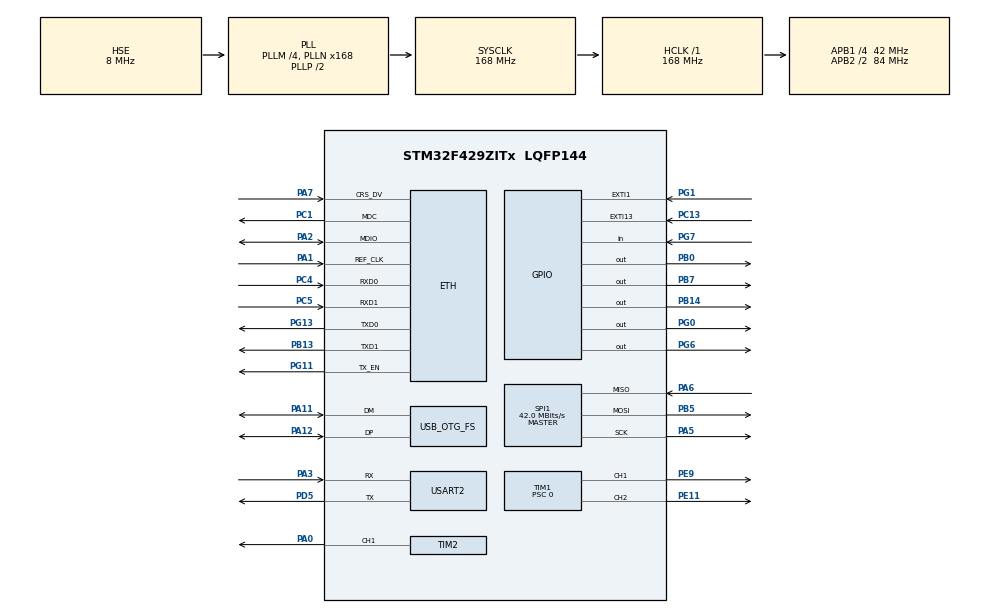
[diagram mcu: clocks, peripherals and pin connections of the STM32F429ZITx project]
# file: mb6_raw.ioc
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ADC1.Channel-12\#ChannelRegularConversion=ADC_CHANNEL_TEMPSENSOR
ADC1.ClockPrescaler=ADC_CLOCK_SYNC_PCLK_DIV4
ADC1.ContinuousConvMode=DISABLE
ADC1.DMAContinuousRequests=DISABLE
ADC1.DataAlign=ADC_DATAALIGN_RIGHT
ADC1.DiscontinuousConvMode=DISABLE
ADC1.EOCSelection=ADC_EOC_SINGLE_CONV
ADC1.EnableAnalogWatchDog=false
ADC1.ExternalTrigConv=ADC_SOFTWARE_START
ADC1.ExternalTrigConvEdge=ADC_EXTERNALTRIGCONVEDGE_NONE
ADC1.InjNumberOfConversion=0
ADC1.NbrOfConversion=1
ADC1.NbrOfConversionFlag=1
ADC1.Rank-12\#ChannelRegularConversion=1
ADC1.Resolution=ADC_RESOLUTION_12B
ADC1.SamplingTime-12\#ChannelRegularConversion=ADC_SAMPLETIME_3CYCLES
ADC1.ScanConvMode=DISABLE
ADC1.master=1
Dma.ADC1.4.Direction=DMA_PERIPH_TO_MEMORY
Dma.ADC1.4.FIFOMode=DMA_FIFOMODE_DISABLE
Dma.ADC1.4.Instance=DMA2_Stream4
Dma.ADC1.4.MemDataAlignment=DMA_MDATAALIGN_HALFWORD
Dma.ADC1.4.MemInc=DMA_MINC_ENABLE
Dma.ADC1.4.Mode=DMA_NORMAL
Dma.ADC1.4.PeriphDataAlignment=DMA_PDATAALIGN_HALFWORD
Dma.ADC1.4.PeriphInc=DMA_PINC_DISABLE
Dma.ADC1.4.Priority=DMA_PRIORITY_LOW
Dma.Request0=SPI1_TX
Dma.Request1=SPI1_RX
Dma.Request2=USART2_RX
Dma.Request3=USART2_TX
Dma.Request4=ADC1
Dma.SPI1_RX.1.Direction=DMA_PERIPH_TO_MEMORY
Dma.SPI1_RX.1.FIFOMode=DMA_FIFOMODE_ENABLE
Dma.SPI1_RX.1.FIFOThreshold=DMA_FIFO_THRESHOLD_FULL
Dma.SPI1_RX.1.Instance=DMA2_Stream0
Dma.SPI1_RX.1.MemBurst=DMA_MBURST_SINGLE
Dma.SPI1_RX.1.MemDataAlignment=DMA_MDATAALIGN_BYTE
Dma.SPI1_RX.1.MemInc=DMA_MINC_ENABLE
Dma.SPI1_RX.1.Mode=DMA_NORMAL
Dma.SPI1_RX.1.PeriphBurst=DMA_PBURST_SINGLE
Dma.SPI1_RX.1.PeriphDataAlignment=DMA_PDATAALIGN_BYTE
Dma.SPI1_RX.1.PeriphInc=DMA_PINC_DISABLE
Dma.SPI1_RX.1.Priority=DMA_PRIORITY_HIGH
Dma.SPI1_TX.0.Direction=DMA_MEMORY_TO_PERIPH
Dma.SPI1_TX.0.FIFOMode=DMA_FIFOMODE_ENABLE
Dma.SPI1_TX.0.FIFOThreshold=DMA_FIFO_THRESHOLD_FULL
Dma.SPI1_TX.0.Instance=DMA2_Stream3
Dma.SPI1_TX.0.MemBurst=DMA_MBURST_SINGLE
Dma.SPI1_TX.0.MemDataAlignment=DMA_MDATAALIGN_BYTE
Dma.SPI1_TX.0.MemInc=DMA_MINC_ENABLE
Dma.SPI1_TX.0.Mode=DMA_NORMAL
Dma.SPI1_TX.0.PeriphBurst=DMA_PBURST_SINGLE
Dma.SPI1_TX.0.PeriphDataAlignment=DMA_PDATAALIGN_BYTE
Dma.SPI1_TX.0.PeriphInc=DMA_PINC_DISABLE
Dma.SPI1_TX.0.Priority=DMA_PRIORITY_HIGH
Dma.USART2_RX.2.Direction=DMA_PERIPH_TO_MEMORY
Dma.USART2_RX.2.FIFOMode=DMA_FIFOMODE_DISABLE
Dma.USART2_RX.2.Instance=DMA1_Stream5
Dma.USART2_RX.2.MemDataAlignment=DMA_MDATAALIGN_BYTE
Dma.USART2_RX.2.MemInc=DMA_MINC_ENABLE
Dma.USART2_RX.2.Mode=DMA_CIRCULAR
Dma.USART2_RX.2.PeriphDataAlignment=DMA_PDATAALIGN_BYTE
Dma.USART2_RX.2.PeriphInc=DMA_PINC_DISABLE
Dma.USART2_RX.2.Priority=DMA_PRIORITY_LOW
Dma.USART2_TX.3.Direction=DMA_MEMORY_TO_PERIPH
Dma.USART2_TX.3.FIFOMode=DMA_FIFOMODE_DISABLE
Dma.USART2_TX.3.Instance=DMA1_Stream6
Dma.USART2_TX.3.MemDataAlignment=DMA_MDATAALIGN_BYTE
Dma.USART2_TX.3.MemInc=DMA_MINC_ENABLE
Dma.USART2_TX.3.Mode=DMA_NORMAL
Dma.USART2_TX.3.PeriphDataAlignment=DMA_PDATAALIGN_BYTE
Dma.USART2_TX.3.PeriphInc=DMA_PINC_DISABLE
Dma.USART2_TX.3.Priority=DMA_PRIORITY_LOW
ETH.MediaInterface=ETH_MEDIA_INTERFACE_RMII
ETH.PhyAddress=0
FREERTOS.BinarySemaphores01=myBinarySem01_SPI1T,Dynamic,NULL;myBinarySem02_USART2T,Dynamic,NULL;myBinarySem03_USART2R,Dynamic,NULL
FREERTOS.MEMORY_ALLOCATION=0
FREERTOS.Queues01=myQueue01,16,uint16_t,NULL,Dynamic,NULL,NULL;myQueue02,16,uint16_t,NULL,Dynamic,NULL,NULL
FREERTOS.Tasks01=defaultTask,0,256,StartDefaultTask,Default,NULL,Dynamic,NULL,NULL;myTask02,2,128,StartTask02,Default,NULL,Dynamic,NULL,NULL;myTask03,-3,512,StartTask03,Default,NULL,Dynamic,NULL,NULL;myTask04,-3,128,StartTask04,Default,NULL,Dynamic,NULL,NULL;myTask05,-3,3840,StartTask05,Default,NULL,Dynamic,NULL,NULL
FREERTOS.configCHECK_FOR_STACK_OVERFLOW=0
FREERTOS.configMINIMAL_STACK_SIZE=128
FREERTOS.configTOTAL_HEAP_SIZE=50000
LWIP.DEFAULT_RAW_RECVMBOX_SIZE=20
LWIP.DEFAULT_TCP_RECVMBOX_SIZE=20
LWIP.GATEWAY_ADDRESS=192.168.003.001
LWIP.HTTPD_USE_MEM_POOL=0
LWIP.IP_ADDRESS=192.168.003.220
LWIP.LWIP_DHCP=0
LWIP.LWIP_HTTPD=1
LWIP.LWIP_HTTPD_CGI=1
LWIP.LWIP_HTTPD_CGI_SSI=0
LWIP.LWIP_HTTPD_DYNAMIC_HEADERS=1
LWIP.LWIP_HTTPD_OMIT_HEADER_FOR_EXTENSIONLESS_URI=1
LWIP.LWIP_HTTPD_SSI=1
LWIP.LWIP_HTTPD_SUPPORT_POST=1
LWIP.LWIP_NETIF_LINK_CALLBACK=1
LWIP.LWIP_TFTP=1
LWIP.MEMP_NUM_LOCALHOSTLIST=5
LWIP.MEMP_NUM_TCP_SEG=24
LWIP.NETMASK_ADDRESS=255.255.255.000
LWIP.TCP_MSS=460
LWIP.TCP_SND_BUF=1840
LWIP.TCP_WND=2048
LWIP.TFTP_MAX_FILENAME_LEN=40
LWIP.Version=v2.0.0_Cube
Mcu.Family=STM32F4
Mcu.Name=STM32F429ZITx
Mcu.Package=LQFP144
NVIC.DMA1_Stream5_IRQn=true\:5\:0\:false\:false\:true\:true\:false
NVIC.DMA1_Stream6_IRQn=true\:5\:0\:false\:false\:true\:true\:false
NVIC.DMA2_Stream0_IRQn=true\:5\:0\:false\:false\:true\:true\:false
NVIC.DMA2_Stream3_IRQn=true\:5\:0\:false\:false\:true\:true\:false
NVIC.DMA2_Stream4_IRQn=true\:5\:0\:false\:false\:true\:true\:false
NVIC.ETH_IRQn=true\:5\:0\:false\:false\:true\:true\:false
NVIC.EXTI1_IRQn=true\:5\:0\:false\:false\:true\:true\:true
NVIC.OTG_FS_IRQn=true\:5\:0\:false\:false\:true\:true\:false
NVIC.PriorityGroup=NVIC_PRIORITYGROUP_4
NVIC.SPI1_IRQn=true\:5\:0\:false\:false\:true\:true\:true
NVIC.USART2_IRQn=true\:5\:0\:false\:false\:true\:true\:true
PA0/WKUP.Signal=S_TIM2_CH1_ETR
PA1.GPIO_Mode=GPIO_MODE_AF_PP
PA1.GPIO_PuPd=GPIO_NOPULL
PA1.GPIO_Speed=GPIO_SPEED_FREQ_VERY_HIGH
PA1.Mode=RMII
PA1.Signal=ETH_REF_CLK
PA10.GPIO_Mode=GPIO_MODE_AF_PP
PA10.GPIO_PuPd=GPIO_NOPULL
PA10.GPIO_Speed=GPIO_SPEED_FREQ_VERY_HIGH
PA10.Signal=USB_OTG_FS_ID
PA11.GPIO_Mode=GPIO_MODE_AF_PP
PA11.GPIO_PuPd=GPIO_NOPULL
PA11.GPIO_Speed=GPIO_SPEED_FREQ_VERY_HIGH
PA11.Mode=Device_Only
PA11.Signal=USB_OTG_FS_DM
PA12.GPIO_Mode=GPIO_MODE_AF_PP
PA12.GPIO_PuPd=GPIO_NOPULL
PA12.GPIO_Speed=GPIO_SPEED_FREQ_VERY_HIGH
PA12.Mode=Device_Only
PA12.Signal=USB_OTG_FS_DP
PA13.Mode=Serial_Wire
PA13.Signal=SYS_JTMS-SWDIO
PA14.Mode=Serial_Wire
PA14.Signal=SYS_JTCK-SWCLK
PA2.GPIO_Mode=GPIO_MODE_AF_PP
PA2.GPIO_PuPd=GPIO_NOPULL
PA2.GPIO_Speed=GPIO_SPEED_FREQ_VERY_HIGH
PA2.Mode=RMII
PA2.Signal=ETH_MDIO
PA3.Mode=Asynchronous
PA3.Signal=USART2_RX
PA5.Mode=Full_Duplex_Master
PA5.Signal=SPI1_SCK
PA6.Mode=Full_Duplex_Master
PA6.Signal=SPI1_MISO
PA7.GPIO_Mode=GPIO_MODE_AF_PP
PA7.GPIO_PuPd=GPIO_NOPULL
PA7.GPIO_Speed=GPIO_SPEED_FREQ_VERY_HIGH
PA7.Mode=RMII
PA7.Signal=ETH_CRS_DV
PA8.GPIO_Mode=GPIO_MODE_AF_PP
PA8.GPIO_PuPd=GPIO_NOPULL
PA8.GPIO_Speed=GPIO_SPEED_FREQ_VERY_HIGH
PA8.Signal=USB_OTG_FS_SOF
PA9.GPIO_Mode=GPIO_MODE_INPUT
PA9.GPIO_PuPd=GPIO_NOPULL
PA9.Signal=USB_OTG_FS_VBUS
PB0.Signal=GPIO_Output
PB13.GPIO_Mode=GPIO_MODE_AF_PP
PB13.GPIO_PuPd=GPIO_NOPULL
PB13.GPIO_Speed=GPIO_SPEED_FREQ_VERY_HIGH
PB13.Mode=RMII
PB13.Signal=ETH_TXD1
PB14.GPIO_ModeDefaultOutputPP=GPIO_MODE_OUTPUT_PP
PB14.GPIO_PuPd=GPIO_NOPULL
PB14.GPIO_Speed=GPIO_SPEED_FREQ_LOW
PB14.PinState=GPIO_PIN_RESET
PB14.Signal=GPIO_Output
PB5.Mode=Full_Duplex_Master
PB5.Signal=SPI1_MOSI
PB7.Signal=GPIO_Output
PC1.GPIO_Mode=GPIO_MODE_AF_PP
PC1.GPIO_PuPd=GPIO_NOPULL
PC1.GPIO_Speed=GPIO_SPEED_FREQ_VERY_HIGH
PC1.Mode=RMII
PC1.Signal=ETH_MDC
PC13.GPIO_ModeDefaultEXTI=GPIO_MODE_IT_RISING
PC13.GPIO_PuPd=GPIO_NOPULL
PC13.Signal=GPXTI13
PC14/OSC32_IN.Mode=LSE-External-Oscillator
PC14/OSC32_IN.Signal=RCC_OSC32_IN
PC15/OSC32_OUT.Mode=LSE-External-Oscillator
PC15/OSC32_OUT.Signal=RCC_OSC32_OUT
PC4.GPIO_Mode=GPIO_MODE_AF_PP
PC4.GPIO_PuPd=GPIO_NOPULL
PC4.GPIO_Speed=GPIO_SPEED_FREQ_VERY_HIGH
PC4.Mode=RMII
PC4.Signal=ETH_RXD0
PC5.GPIO_Mode=GPIO_MODE_AF_PP
PC5.GPIO_PuPd=GPIO_NOPULL
PC5.GPIO_Speed=GPIO_SPEED_FREQ_VERY_HIGH
PC5.Mode=RMII
PC5.Signal=ETH_RXD1
PD5.Mode=Asynchronous
PD5.Signal=USART2_TX
PD8.GPIO_Mode=GPIO_MODE_AF_PP
PD8.GPIO_PuPd=GPIO_NOPULL
PD8.GPIO_Speed=GPIO_SPEED_FREQ_VERY_HIGH
PD8.Signal=USART3_TX
PD9.GPIO_Mode=GPIO_MODE_AF_PP
PD9.GPIO_PuPd=GPIO_NOPULL
PD9.GPIO_Speed=GPIO_SPEED_FREQ_VERY_HIGH
PD9.Signal=USART3_RX
PE11.GPIO_Speed=GPIO_SPEED_FREQ_HIGH
PE11.Signal=S_TIM1_CH2
PE9.GPIO_PuPd=GPIO_PULLUP
PE9.GPIO_Speed=GPIO_SPEED_FREQ_HIGH
PE9.Signal=S_TIM1_CH1
PG0.Signal=GPIO_Output
PG1.GPIO_ModeDefaultEXTI=GPIO_MODE_IT_RISING
PG1.Signal=GPXTI1
PG11.GPIO_Mode=GPIO_MODE_AF_PP
PG11.GPIO_PuPd=GPIO_NOPULL
PG11.GPIO_Speed=GPIO_SPEED_FREQ_VERY_HIGH
PG11.Mode=RMII
PG11.Signal=ETH_TX_EN
PG13.GPIO_Mode=GPIO_MODE_AF_PP
PG13.GPIO_PuPd=GPIO_NOPULL
PG13.GPIO_Speed=GPIO_SPEED_FREQ_VERY_HIGH
PG13.Mode=RMII
PG13.Signal=ETH_TXD0
PG6.GPIO_ModeDefaultOutputPP=GPIO_MODE_OUTPUT_PP
PG6.GPIO_PuPd=GPIO_NOPULL
PG6.GPIO_Speed=GPIO_SPEED_FREQ_LOW
PG6.PinState=GPIO_PIN_RESET
PG6.Signal=GPIO_Output
PG7.GPIO_Mode=GPIO_MODE_INPUT
PG7.GPIO_PuPd=GPIO_NOPULL
PG7.Signal=GPIO_Input
PH0/OSC_IN.Mode=HSE-External-Oscillator
PH0/OSC_IN.Signal=RCC_OSC_IN
PH1/OSC_OUT.Mode=HSE-External-Oscillator
PH1/OSC_OUT.Signal=RCC_OSC_OUT
ProjectManager.HeapSize=0x200
ProjectManager.StackSize=0x400
ProjectManager.TargetToolchain=SW4STM32
RCC.48MHZClocksFreq_Value=48000000
RCC.AHBFreq_Value=168000000
RCC.APB1CLKDivider=RCC_HCLK_DIV4
RCC.APB1Freq_Value=42000000
RCC.APB1TimFreq_Value=84000000
RCC.APB2CLKDivider=RCC_HCLK_DIV2
RCC.APB2Freq_Value=84000000
RCC.APB2TimFreq_Value=168000000
RCC.CortexFreq_Value=168000000
RCC.HCLKFreq_Value=168000000
RCC.HSE_VALUE=8000000
RCC.HSI_VALUE=16000000
RCC.PLLM=4
RCC.PLLMUL=RCC_PLL_MUL9
RCC.PLLN=168
RCC.PLLQ=7
RCC.PRESCALERUSB=RCC_USBCLKSOURCE_PLL_DIV1_5
RCC.RCC_RTC_Clock_Source=RCC_RTCCLKSOURCE_LSE
RCC.RCC_RTC_Clock_SourceVirtual=RCC_RTCCLKSOURCE_LSE
RCC.SYSCLKFreq_VALUE=168000000
RCC.SYSCLKSource=RCC_SYSCLKSOURCE_PLLCLK
RCC.SYSCLKSourceVirtual=RCC_SYSCLKSOURCE_PLLCLK
RCC.USBFreq_Value=48000000
RCC.VCOOutputFreq_Value=336000000
RTC.Alarm=RTC_ALARM_A
SH.S_TIM1_CH1.0=TIM1_CH1,Output Compare1 CH1
SH.S_TIM1_CH2.0=TIM1_CH2,PWM Generation2 CH2
SH.S_TIM2_CH1_ETR.0=TIM2_CH1,Output Compare1 CH1
SPI1.CalculateBaudRate=42.0 MBits/s
SPI1.Direction=SPI_DIRECTION_2LINES
SPI1.Mode=SPI_MODE_MASTER
SPI1.VirtualType=VM_MASTER
TIM1.AutomaticOutput=TIM_AUTOMATICOUTPUT_ENABLE
TIM1.Channel-Output\ Compare1\ CH1=TIM_CHANNEL_1
TIM1.Channel-PWM\ Generation2\ CH2=TIM_CHANNEL_2
TIM1.ClockDivision=TIM_CLOCKDIVISION_DIV1
TIM1.OCFastMode_PWM-PWM\ Generation2\ CH2=TIM_OCFAST_ENABLE
TIM1.OCMode_1=TIM_OCMODE_TOGGLE
TIM1.Period=84
TIM1.Prescaler=0
TIM1.Pulse-PWM\ Generation2\ CH2=15
TIM2.Channel-Output\ Compare1\ CH1=TIM_CHANNEL_1
TIM2.OCMode_1=TIM_OCMODE_TOGGLE
TIM2.Period=42
TIM2.Prescaler=1000
USART2.VirtualMode=VM_ASYNC
USB_DEVICE.CLASS_NAME_FS=CDC
USB_DEVICE.VirtualMode-CDC_FS=Cdc
USB_DEVICE.VirtualModeFS=Cdc_FS
USB_OTG_FS.VirtualMode=Device_Only
VP_ADC1_TempSens_Input.Mode=IN-TempSens
VP_FREERTOS_VS_ENABLE.Mode=Enabled
VP_LWIP_VS_Enabled.Mode=Enabled
VP_RTC_VS_RTC_Activate.Mode=RTC_Enabled
VP_RTC_VS_RTC_Alarm_A_Intern.Mode=Alarm A
VP_RTC_VS_RTC_Calendar.Mode=RTC_Calendar
VP_TIM1_VS_ClockSourceINT.Mode=Internal
VP_TIM2_VS_ClockSourceINT.Mode=Internal
VP_USB_DEVICE_VS_USB_DEVICE_CDC_FS.Mode=CDC_FS
VP_WWDG_VS_WWDG.Mode=WWDG_Activate
WWDG.Counter=127
WWDG.Prescaler=WWDG_PRESCALER_8
WWDG.Window=127
board=NUCLEO-F429ZI

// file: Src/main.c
/**
  ******************************************************************************
  * File Name          : main.c
  * Description        : Main program body
  ******************************************************************************
  * This notice applies to any and all portions of this file
  * that are not between comment pairs USER CODE BEGIN and
  * USER CODE END. Other portions of this file, whether
  * inserted by the user or by software development tools
  * are owned by their respective copyright owners.
  *
  * Copyright (c) 2019 STMicroelectronics International N.V.
  * All rights reserved.
  *
  * Redistribution and use in source and binary forms, with or without
  * modification, are permitted, provided that the following conditions are met:
  *
  * 1. Redistribution of source code must retain the above copyright notice,
  *    this list of conditions and the following disclaimer.
  * 2. Redistributions in binary form must reproduce the above copyright notice,
  *    this list of conditions and the following disclaimer in the documentation
  *    and/or other materials provided with the distribution.
  * 3. Neither the name of STMicroelectronics nor the names of other
  *    contributors to this software may be used to endorse or promote products
  *    derived from this software without specific written permission.
  * 4. This software, including modifications and/or derivative works of this
  *    software, must execute solely and exclusively on microcontroller or
  *    microprocessor devices manufactured by or for STMicroelectronics.
  * 5. Redistribution and use of this software other than as permitted under
  *    this license is void and will automatically terminate your rights under
  *    this license.
  *
  * THIS SOFTWARE IS PROVIDED BY STMICROELECTRONICS AND CONTRIBUTORS "AS IS"
  * AND ANY EXPRESS, IMPLIED OR STATUTORY WARRANTIES, INCLUDING, BUT NOT
  * LIMITED TO, THE IMPLIED WARRANTIES OF MERCHANTABILITY, FITNESS FOR A
  * PARTICULAR PURPOSE AND NON-INFRINGEMENT OF THIRD PARTY INTELLECTUAL PROPERTY
  * RIGHTS ARE DISCLAIMED TO THE FULLEST EXTENT PERMITTED BY LAW. IN NO EVENT
  * SHALL STMICROELECTRONICS OR CONTRIBUTORS BE LIABLE FOR ANY DIRECT, INDIRECT,
  * INCIDENTAL, SPECIAL, EXEMPLARY, OR CONSEQUENTIAL DAMAGES (INCLUDING, BUT NOT
  * LIMITED TO, PROCUREMENT OF SUBSTITUTE GOODS OR SERVICES; LOSS OF USE, DATA,
  * OR PROFITS; OR BUSINESS INTERRUPTION) HOWEVER CAUSED AND ON ANY THEORY OF
  * LIABILITY, WHETHER IN CONTRACT, STRICT LIABILITY, OR TORT (INCLUDING
  * NEGLIGENCE OR OTHERWISE) ARISING IN ANY WAY OUT OF THE USE OF THIS SOFTWARE,
  * EVEN IF ADVISED OF THE POSSIBILITY OF SUCH DAMAGE.
  *
  ******************************************************************************
  */

#include "main.h"
#include "stm32f4xx_hal.h"
#include "cmsis_os.h"
#include "adc.h"
#include "dma.h"
#include "lwip.h"
#include "rtc.h"
#include "spi.h"
#include "tim.h"
#include "usart.h"
#include "usb_device.h"
#include "wwdg.h"
#include "gpio.h"

/* USER CODE BEGIN Includes */
#include "mb.h"
#include "mbport.h"

#include "tftpserver.h"
#include "storage.h"
#include "stm32f4xx_hal_rtc_ex.h" //recommended for rtc
#include "rtc.h"
/* USER CODE END Includes */

/* USER CODE BEGIN PV */
/* Private variables ---------------------------------------------------------*/
unsigned long LocalTime = 0; /* this variable is used to create a time reference incremented by 10ms */
/* USER CODE END PV */

void SystemClock_Config(void);
void MX_FREERTOS_Init(void);

/* USER CODE BEGIN PFP */
/* Private function prototypes -----------------------------------------------*/
#define SYSTEMTICK_PERIOD_MS  1
/* USER CODE END PFP */

/* USER CODE BEGIN 0 */
void NVIC_SetVectorTable(unsigned long NVIC_VectTab, unsigned long Offset) {
         SCB->VTOR = NVIC_VectTab | (Offset & (unsigned int)0x1FFFFF80);
 }
void Time_Update(void)
{
  LocalTime += SYSTEMTICK_PERIOD_MS;
}
void printfp(char * c) {
	static char a[64];
	int len = strlen(c);
	memcpy(a,c,len);
//		HAL_UART_Transmit_DMA(&huart2,  c, strlen(c));
	HAL_UART_Transmit_DMA(&huart2,  a, len);
}
void printfpd(char * c, unsigned long d) {
	static char b[100];
	sprintf(b,c,d);
	printfp(b);
}
/* USER CODE END 0 */

int main(void)
{

  /* USER CODE BEGIN 1 */
	Reset = 0;
	write_cnt = 0;
  /* USER CODE END 1 */

  /* MCU Configuration----------------------------------------------------------*/

  /* Reset of all peripherals, Initializes the Flash interface and the Systick. */
  HAL_Init();

  /* Configure the system clock */
  SystemClock_Config();

  /* Initialize all configured peripherals */
  MX_GPIO_Init();
  MX_DMA_Init();
  MX_ADC1_Init();
  MX_RTC_Init();
  MX_SPI1_Init();
  MX_TIM1_Init();
  MX_TIM2_Init();
  MX_USART2_UART_Init();
  MX_WWDG_Init();

  /* USER CODE BEGIN 2 */
  NVIC_SetVectorTable(NVIC_VectTab_FLASH, USER_FLASH_FIRST_PAGE_ADDRESS);
  HAL_RTCEx_EnableBypassShadow(&hrtc);  //recommended for rtc
  ReadStorage();  //for have property mac
  //HAL_TIM_Base_Start(&htim1);
  HAL_TIM_OC_Start(&htim1, TIM_CHANNEL_1); //output compare mode
  //HAL_TIM_PWM_Start(&htim1, TIM_CHANNEL_1);
  HAL_TIM_PWM_Start(&htim1, TIM_CHANNEL_2); //pwm mode
  HAL_TIM_OC_Start(&htim2, TIM_CHANNEL_1); //output compare mode

  /* USER CODE END 2 */

  /* Call init function for freertos objects (in freertos.c) */
  MX_FREERTOS_Init();

  /* Start scheduler */
  osKernelStart();

  /* We should never get here as control is now taken by the scheduler */

  /* Infinite loop */
  while (1)
  {

  }

}

/** System Clock Configuration
*/
void SystemClock_Config(void)
{

  RCC_OscInitTypeDef RCC_OscInitStruct;
  RCC_ClkInitTypeDef RCC_ClkInitStruct;
  RCC_PeriphCLKInitTypeDef PeriphClkInitStruct;

    /**Configure the main internal regulator output voltage
    */
  __HAL_RCC_PWR_CLK_ENABLE();

  __HAL_PWR_VOLTAGESCALING_CONFIG(PWR_REGULATOR_VOLTAGE_SCALE1);

    /**Initializes the CPU, AHB and APB busses clocks
    */
  RCC_OscInitStruct.OscillatorType = RCC_OSCILLATORTYPE_HSE|RCC_OSCILLATORTYPE_LSE;
  RCC_OscInitStruct.HSEState = RCC_HSE_ON;
  RCC_OscInitStruct.LSEState = RCC_LSE_ON;
  RCC_OscInitStruct.PLL.PLLState = RCC_PLL_ON;
  RCC_OscInitStruct.PLL.PLLSource = RCC_PLLSOURCE_HSE;
  RCC_OscInitStruct.PLL.PLLM = 4;
  RCC_OscInitStruct.PLL.PLLN = 168;
  RCC_OscInitStruct.PLL.PLLP = RCC_PLLP_DIV2;
  RCC_OscInitStruct.PLL.PLLQ = 7;
  if (HAL_RCC_OscConfig(&RCC_OscInitStruct) != HAL_OK)
  {
    _Error_Handler(__FILE__, __LINE__);
  }

    /**Initializes the CPU, AHB and APB busses clocks
    */
  RCC_ClkInitStruct.ClockType = RCC_CLOCKTYPE_HCLK|RCC_CLOCKTYPE_SYSCLK
                              |RCC_CLOCKTYPE_PCLK1|RCC_CLOCKTYPE_PCLK2;
  RCC_ClkInitStruct.SYSCLKSource = RCC_SYSCLKSOURCE_PLLCLK;
  RCC_ClkInitStruct.AHBCLKDivider = RCC_SYSCLK_DIV1;
  RCC_ClkInitStruct.APB1CLKDivider = RCC_HCLK_DIV4;
  RCC_ClkInitStruct.APB2CLKDivider = RCC_HCLK_DIV2;

  if (HAL_RCC_ClockConfig(&RCC_ClkInitStruct, FLASH_LATENCY_5) != HAL_OK)
  {
    _Error_Handler(__FILE__, __LINE__);
  }

  PeriphClkInitStruct.PeriphClockSelection = RCC_PERIPHCLK_RTC;
  PeriphClkInitStruct.RTCClockSelection = RCC_RTCCLKSOURCE_LSE;
  if (HAL_RCCEx_PeriphCLKConfig(&PeriphClkInitStruct) != HAL_OK)
  {
    _Error_Handler(__FILE__, __LINE__);
  }

    /**Configure the Systick interrupt time
    */
  HAL_SYSTICK_Config(HAL_RCC_GetHCLKFreq()/1000);

    /**Configure the Systick
    */
  HAL_SYSTICK_CLKSourceConfig(SYSTICK_CLKSOURCE_HCLK);

  /* SysTick_IRQn interrupt configuration */
  HAL_NVIC_SetPriority(SysTick_IRQn, 15, 0);
}

void _Error_Handler(char * file, int line)
{
  while(1)
  {
  }
}

/************************ (C) COPYRIGHT STMicroelectronics *****END OF FILE****/

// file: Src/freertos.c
/**
  ******************************************************************************
  * File Name          : freertos.c
  * Description        : Code for freertos applications
  ******************************************************************************
  * This notice applies to any and all portions of this file
  * that are not between comment pairs USER CODE BEGIN and
  * USER CODE END. Other portions of this file, whether
  * inserted by the user or by software development tools
  * are owned by their respective copyright owners.
  *
  * Copyright (c) 2019 STMicroelectronics International N.V.
  * All rights reserved.
  *
  * Redistribution and use in source and binary forms, with or without
  * modification, are permitted, provided that the following conditions are met:
  *
  * 1. Redistribution of source code must retain the above copyright notice,
  *    this list of conditions and the following disclaimer.
  * 2. Redistributions in binary form must reproduce the above copyright notice,
  *    this list of conditions and the following disclaimer in the documentation
  *    and/or other materials provided with the distribution.
  * 3. Neither the name of STMicroelectronics nor the names of other
  *    contributors to this software may be used to endorse or promote products
  *    derived from this software without specific written permission.
  * 4. This software, including modifications and/or derivative works of this
  *    software, must execute solely and exclusively on microcontroller or
  *    microprocessor devices manufactured by or for STMicroelectronics.
  * 5. Redistribution and use of this software other than as permitted under
  *    this license is void and will automatically terminate your rights under
  *    this license.
  *
  * THIS SOFTWARE IS PROVIDED BY STMICROELECTRONICS AND CONTRIBUTORS "AS IS"
  * AND ANY EXPRESS, IMPLIED OR STATUTORY WARRANTIES, INCLUDING, BUT NOT
  * LIMITED TO, THE IMPLIED WARRANTIES OF MERCHANTABILITY, FITNESS FOR A
  * PARTICULAR PURPOSE AND NON-INFRINGEMENT OF THIRD PARTY INTELLECTUAL PROPERTY
  * RIGHTS ARE DISCLAIMED TO THE FULLEST EXTENT PERMITTED BY LAW. IN NO EVENT
  * SHALL STMICROELECTRONICS OR CONTRIBUTORS BE LIABLE FOR ANY DIRECT, INDIRECT,
  * INCIDENTAL, SPECIAL, EXEMPLARY, OR CONSEQUENTIAL DAMAGES (INCLUDING, BUT NOT
  * LIMITED TO, PROCUREMENT OF SUBSTITUTE GOODS OR SERVICES; LOSS OF USE, DATA,
  * OR PROFITS; OR BUSINESS INTERRUPTION) HOWEVER CAUSED AND ON ANY THEORY OF
  * LIABILITY, WHETHER IN CONTRACT, STRICT LIABILITY, OR TORT (INCLUDING
  * NEGLIGENCE OR OTHERWISE) ARISING IN ANY WAY OUT OF THE USE OF THIS SOFTWARE,
  * EVEN IF ADVISED OF THE POSSIBILITY OF SUCH DAMAGE.
  *
  ******************************************************************************
  */

#include "FreeRTOS.h"
#include "task.h"
#include "cmsis_os.h"

/* USER CODE BEGIN Includes */

#include "stm32f4xx_hal.h"
#include "lwip/opt.h"
#include "lwip/arch.h"
#include "lwip/opt.h"
#include "lwip/api.h"
#include "lwip.h"
#include "lwip/inet.h"
#include "lwip/sockets.h"
#include "string.h"
#include "spi.h"
#include "usart.h"
#include "adc.h"
#include "tim.h"
#include "rtc.h"

#include "port.h"
#include "mb.h"
#include "mbtcp.h"

#include "httpd.h"

/*
#include "lwip/err.h"
#include "lwip/ip_addr.h"
#include "lwip/def.h"
#include "lwip/pbuf.h"
#include "lwip/stats.h"
*/

//#include "stm32f4xx_dma.h"
//#include "Trace.h"

#define  MY_UDP_PORT		(7)
/* USER CODE END Includes */

osThreadId defaultTaskHandle;
osThreadId myTask02Handle;
osThreadId myTask03Handle;
osThreadId myTask04Handle;
osThreadId myTask05Handle;
osMessageQId myQueue01Handle;
osMessageQId myQueue02Handle;
osSemaphoreId myBinarySem01_SPI1THandle;
osSemaphoreId myBinarySem02_USART2THandle;
osSemaphoreId myBinarySem03_USART2RHandle;

/* USER CODE BEGIN Variables */
/* ------------------------ Defines --------------------------------------- */
#define mainCOM_TEST_BAUD_RATE  ( ( unsigned portLONG ) 38400 )

#define mainMB_TASK_PRIORITY    ( tskIDLE_PRIORITY + 3 )
#define PROG                    "FreeModbus"
#define REG_INPUT_START         0//1000
#define REG_INPUT_NREGS         8//4
#define REG_HOLDING_START       0 //2000
#define REG_HOLDING_NREGS       130

/* ----------------------- Static variables ---------------------------------*/
static USHORT   usRegInputStart = REG_INPUT_START;
static USHORT   usRegInputBuf[REG_INPUT_NREGS];
static USHORT   usRegHoldingStart = REG_HOLDING_START;
static USHORT   usRegHoldingBuf[REG_HOLDING_NREGS];

//xComPortHandle  xSTDComPort = NULL;

/* ------------------------ Static functions ------------------------------ */
static void     vlwIPInit( void );
//static void     vMBServerTask( void *arg );
static void     vMBServerTask( void);

//uint8_t testDataToReceiveU[U2_BUFF_SIZE];
//uint16_t u2cnt;
//uint8_t RB;
#define TIME_WAIT_JUMP  (7500)//  (10000)

#define 	NVIC_VectTab_FLASH   ((uint32_t)0x08000000)
typedef  void (*pFunction)(void);
pFunction Jump_To_Application;
uint32_t JumpAddress;
char RcvBuff[RCV_BUFF_SIZE];
char TrBuff[TR_BUFF_SIZE];
unsigned long counter = 0;
//uint8_t flag_rcv = 0;
/* USER CODE END Variables */

void StartDefaultTask(void const * argument);
void StartTask02(void const * argument);
void StartTask03(void const * argument);
void StartTask04(void const * argument);
void StartTask05(void const * argument);

extern void MX_LWIP_Init(void);
extern void MX_USB_DEVICE_Init(void);
void MX_FREERTOS_Init(void); /* (MISRA C 2004 rule 8.1) */

/* USER CODE BEGIN FunctionPrototypes */
static void udp_thread(void *arg);
extern uint8_t CDC_Transmit_FS(uint8_t* Buf, uint16_t Len);
//static void udp_thread1(void *arg);
void CheckWriteStorage(void) {
	if(write_cnt) write_cnt--;
	if(write_cnt == 1) WriteStorage();
}

#define tV_25   0.76f //1.34f      //  25 °C.
#define tSlope  0.0025f //0.0043f    // du(V) / dt(grad).
#define Vref    3.3f       // ADC (v).

int32_t CalcTemp(uint32_t data){
	int32_t ret;
double temp;
  //ok  temp = (float)data;
     temp = (double) ((double)data * (double)Vref)/(double)4096;
 //    temp = (tV_25-temp)/tSlope + 25;
     temp = (temp - tV_25)/tSlope + 25;
 //    temp = temp * 16;
    // temp = -0.1;
     ret =(int32_t)temp;
return ret; //(int32_t)data;
}

//char const* TAGCHAR[]={"p","r","s","t"};
char const* TAGCHAR[]={"p","r","s","t","1"};
char const** TAGS=TAGCHAR;
unsigned long  wval[5];
uint32_t n=0;

uint16_t SSI_Handler(int iIndex, char *pcInsert, int iInsertLen)
{
	   n++;
if (iIndex ==0)
  {
 //   n++;
    sprintf(pcInsert,"%lu",n);
    return strlen(pcInsert);
  }
  else if (iIndex ==1)
  {
    sprintf(pcInsert,"%lu",n+5);
    return strlen(pcInsert);
  }
  else if (iIndex ==2)
  {
    sprintf(pcInsert,"%lu",n+10);
    return strlen(pcInsert);
  }
  else if (iIndex ==3)
  {
    sprintf(pcInsert,"%lu",n+15);
    return strlen(pcInsert);
  }
  else if (iIndex ==4)
  {
    sprintf(pcInsert,"%lu",n-1);
    return strlen(pcInsert);
  }
  return 0;
}

const char * LEDS_CGI_Handler(int iIndex, int iNumParams, char *pcParam[], char *pcValue[]);
const char * RX_CGI_Handler(int iIndex, int iNumParams, char *pcParam[], char *pcValue[]);
const char * MD_CGI_Handler(int iIndex, int iNumParams, char *pcParam[], char *pcValue[]);
const char * CSS_CGI_Handler(int iIndex, int iNumParams, char *pcParam[], char *pcValue[]);

const tCGI LEDS_CGI={"/leds.cgi", LEDS_CGI_Handler};
//const tCGI RX_CGI={"/md100se.cgi", RX_CGI_Handler};
const tCGI RX_CGI={"/request.js", RX_CGI_Handler};
//const tCGI RX_CGI={"/mqx.css", RX_CGI_Handler};
const tCGI MD_CGI={"/md100se.cgi", MD_CGI_Handler};

const tCGI CSS_CGI={"/mqx.css", CSS_CGI_Handler};

//tCGI CGI_TAB[1];
//tCGI CGI_TAB[2];
tCGI CGI_TAB[4];
uint8_t ledstate=0;

const char * RX_CGI_Handler(int iIndex, int iNumParams, char *pcParam[], char *pcValue[])
{

	//return "/sdata.cgi";
	//return strlen("?\"12\"\n\"?34\"\n");
	return "/request.js";
}
//extern unsigned char data__md100se_cgi[50];
//extern void setdi(int pos, char *form,int data);
extern void cpydi(char * str);
const char * MD_CGI_Handler(int iIndex, int iNumParams, char *pcParam[], char *pcValue[])
{
static int k = 0;
char str[20];
k++;
	//return "/sdata.cgi";
//	return strlen("\"12\"\n\"34\"\n");
//	return "/STM32F4x7Rx.shtml";
//	data__md100se_cgi[1]++;
//t	setdi(3,"%5d", k);
	sprintf(str, "%5d\n", k);
	sprintf(str+strlen(str), "%5d", k+5);
	cpydi(str);
	return "/md100se.cgi";
}

const char * CSS_CGI_Handler(int iIndex, int iNumParams, char *pcParam[], char *pcValue[])
{

	//return "/sdata.cgi";
	//return strlen("?\"12\"\n\"?34\"\n");
	return "/mqx.css";
}

const char * LEDS_CGI_Handler(int iIndex, int iNumParams, char *pcParam[], char *pcValue[])
{
  uint32_t i=0;
  if (iIndex==0)
  {
    HAL_GPIO_WritePin(GPIOB, GPIO_PIN_0, GPIO_PIN_RESET);
    HAL_GPIO_WritePin(GPIOB, GPIO_PIN_7, GPIO_PIN_RESET);
    HAL_GPIO_WritePin(GPIOB, GPIO_PIN_14, GPIO_PIN_RESET);
    HAL_GPIO_WritePin(GPIOB, GPIO_PIN_7, GPIO_PIN_RESET);
    ledstate = 0;
    for (i=0; i<iNumParams; i++)
    {
     if (strcmp(pcParam[i] , "Var1")==0)  {
    	 	 wval[i] = strtol(pcValue[i],NULL,0);
    	 	 n =  strtoul(pcValue[i],NULL,0);  //to view
    	 }
      if (strcmp(pcParam[i] , "led")==0)
      {
        if(strcmp(pcValue[i], "1") ==0)
        {
          ledstate |= 1;
          HAL_GPIO_WritePin(GPIOB, GPIO_PIN_0, GPIO_PIN_SET);
        }
        else if(strcmp(pcValue[i], "2") ==0)
        {
          HAL_GPIO_WritePin(GPIOB, GPIO_PIN_7, GPIO_PIN_SET);
          ledstate |= 2;
        }
        else if(strcmp(pcValue[i], "3") ==0)
        {
          HAL_GPIO_WritePin(GPIOB, GPIO_PIN_14, GPIO_PIN_SET);
          ledstate |= 4;
        }
        else if(strcmp(pcValue[i], "4") ==0)
        {
          HAL_GPIO_WritePin(GPIOB, GPIO_PIN_7, GPIO_PIN_SET);
          ledstate |= 8;
        }
      }
    }
  }
//  return "/led.html";
  return "/STM32F4x7Tx.html";
}

/* USER CODE END FunctionPrototypes */

/* Hook prototypes */

/* Init FreeRTOS */

void MX_FREERTOS_Init(void) {

  /* Create the semaphores(s) */
  /* definition and creation of myBinarySem01_SPI1T */
  osSemaphoreDef(myBinarySem01_SPI1T);
  myBinarySem01_SPI1THandle = osSemaphoreCreate(osSemaphore(myBinarySem01_SPI1T), 1);

  /* definition and creation of myBinarySem02_USART2T */
  osSemaphoreDef(myBinarySem02_USART2T);
  myBinarySem02_USART2THandle = osSemaphoreCreate(osSemaphore(myBinarySem02_USART2T), 1);

  /* definition and creation of myBinarySem03_USART2R */
  osSemaphoreDef(myBinarySem03_USART2R);
  myBinarySem03_USART2RHandle = osSemaphoreCreate(osSemaphore(myBinarySem03_USART2R), 1);

  /* Create the thread(s) */
  /* definition and creation of defaultTask */
  osThreadDef(defaultTask, StartDefaultTask, osPriorityNormal, 0, 256);
  defaultTaskHandle = osThreadCreate(osThread(defaultTask), NULL);

  /* definition and creation of myTask02 */
  osThreadDef(myTask02, StartTask02, osPriorityHigh, 0, 128);
  myTask02Handle = osThreadCreate(osThread(myTask02), NULL);

  /* definition and creation of myTask03 */
  osThreadDef(myTask03, StartTask03, osPriorityIdle, 0, 512);
  myTask03Handle = osThreadCreate(osThread(myTask03), NULL);

  /* definition and creation of myTask04 */
  osThreadDef(myTask04, StartTask04, osPriorityIdle, 0, 128);
  myTask04Handle = osThreadCreate(osThread(myTask04), NULL);

  /* definition and creation of myTask05 */
  osThreadDef(myTask05, StartTask05, osPriorityIdle, 0, 3840);
  myTask05Handle = osThreadCreate(osThread(myTask05), NULL);

  /* Create the queue(s) */
  /* definition and creation of myQueue01 */
  osMessageQDef(myQueue01, 16, uint16_t);
  myQueue01Handle = osMessageCreate(osMessageQ(myQueue01), NULL);

  /* definition and creation of myQueue02 */
  osMessageQDef(myQueue02, 16, uint16_t);
  myQueue02Handle = osMessageCreate(osMessageQ(myQueue02), NULL);

}

/* StartDefaultTask function */
void StartDefaultTask(void const * argument)
{
  /* init code for LWIP */
  MX_LWIP_Init();

  /* init code for USB_DEVICE */
  MX_USB_DEVICE_Init();

  /* USER CODE BEGIN StartDefaultTask */
  ReadStorage();  //for have property ip
  My_ChangeIp();  //need add to remote

  httpd_init();

  //http_set_ssi_handler(SSI_Handler, (char const **)TAGS, 4);
  http_set_ssi_handler(SSI_Handler, (char const **)TAGS, 5);
  CGI_TAB[0] = LEDS_CGI;
//t  http_set_cgi_handlers(CGI_TAB, 2);
//t  CGI_TAB[1] = RX_CGI;
  CGI_TAB[1] = RX_CGI;
  CGI_TAB[2] = MD_CGI;
  CGI_TAB[3] = CSS_CGI;
  http_set_cgi_handlers(CGI_TAB, 4);

//  http_set_cgi_handlers(CGI_TAB, 1);
//  http_set_cgi_handlers(CGI_TAB, 2);
//  cgi_handlers_init();
   //============================
  struct netconn *conn, *newconn;
      err_t err, accept_err;
      struct netbuf* buf;
      void* data;
      u16_t len;
      err_t recv_err;

      sys_thread_new("udp_thread", udp_thread, NULL, DEFAULT_THREAD_STACKSIZE, osPriorityNormal);

      if( sys_thread_new("modb_thread", vMBServerTask, NULL, DEFAULT_THREAD_STACKSIZE, mainMB_TASK_PRIORITY ) == NULL )
         {
   //          printfpd("\n\r %s: can't create modbus task!\r\n", PROG );
         }

  conn = netconn_new(NETCONN_TCP);
    if (conn != NULL)
    {
        /* Bind connection to well known port number 1000. */
        err = netconn_bind(conn, NULL, 1000);

        if (err == ERR_OK)
        {
            /* Tell connection to go into listening mode. */
            netconn_listen(conn);

            while (1)
            {
                /* Grab new connection. */
                accept_err = netconn_accept(conn, &newconn);

                /* Process the new connection. */
                if (accept_err == ERR_OK)
                {
                    while ((recv_err = netconn_recv(newconn, &buf)) == ERR_OK)
                    {
                        do
                        {
                            netbuf_data(buf, &data, &len);
                            netconn_write(newconn, data, len, NETCONN_COPY);

                        } while (netbuf_next(buf) >= 0);

                        netbuf_delete(buf);
                    }   //while recv

                    /* Close connection and discard connection identifier. */
                    netconn_close(newconn);
                    netconn_delete(newconn);
                }  //if accept_err
 //         	  HAL_GPIO_TogglePin( GPIOB, GPIO_PIN_7);
//          	  HAL_Delay(1000);

            } //wile(1)
        } //if err == err_ok
        else
        {
            netconn_delete(newconn);
            printf(" can not bind TCP netconn");
        }
    }  //in conn != NULL
    else
    {
        printf("can not create TCP netconn");
    }
// to end}

  //============================

 /*
    struct netconn * conn, *newconn;
  err_t err, accept_err;
conn = netconn_new(NETCONN_TCP);
  if(conn != NULL) {
	err = netconn_bind(conn, NULL, 1000);
	if(err == ERR_OK) {
    netconn_listen(conn);
    accept_err = netconn_accept(conn, &newconn);
    if(accept_err == ERR_OK) {
    	while(1) {
    		char buffer[20];
    		static int cntr = 0;
    		sprintf(buffer, "counter = %d\r", cntr++);
    		netconn_write(newconn, (const unsigned char *)buffer, strlen(buffer), NETCONN_COPY);
    		vTaskDelay(1000);
    		osDelay(1);
    	}//whilw
    }//accept_err
	} //err
  }//conn
*/

  /* Infinite loop */
/*
for(;;)
  {
    osDelay(1);
  }
  */
  /* USER CODE END StartDefaultTask */
}

/* StartTask02 function */
void StartTask02(void const * argument)
{
  /* USER CODE BEGIN StartTask02 */
	uint8_t testDataToSend[128];
	uint8_t testDataToReceive[128];

//this maked	myBinarySem01_SPI1THandle = xSemaphoreCreateBinary();

	for (uint8_t i = 0; i < 128; i++)
	{
	    testDataToSend[i] = i + 1;
	}

   osSemaphoreRelease (myBinarySem01_SPI1THandle);
  /* Infinite loop */
  for(;;)
  {
	if(osSemaphoreWait(myBinarySem01_SPI1THandle , 1) == osOK) {
//	if(1) {
//	HAL_SPI_Transmit_DMA(&hspi1, testDataToSend, 128);
	HAL_SPI_TransmitReceive_DMA(&hspi1, testDataToSend, testDataToReceive, 128);
	HAL_GPIO_TogglePin( GPIOB, GPIO_PIN_7);
//	HAL_SPI_Receive_DMA(&hspi1, testDataToReceive, 128);
 //   HAL_Delay(1000);
	}
	//HAL_SPI_Receive_DMA(&hspi1, testDataToReceive, 128);
    osDelay(1);
  }
  /* USER CODE END StartTask02 */
}

/* StartTask03 function */
void StartTask03(void const * argument)
{
  /* USER CODE BEGIN StartTask03 */
	/*
#define TR_SIZE			(2)
	uint8_t testDataToSendU[TR_SIZE];
	uint16_t tmp, i;
	uint16_t cnt_rd = 0;
	uint16_t cnt_bf = 0;
	uint32_t cnt_rcv = 0;
	uint32_t cnt_tr = 0;
	uint32_t cnt_cp = 0;

	for (i = 0; i <  TR_SIZE	; i++)
		{
		    testDataToSendU[i] = i + 50;
		}

	uint8_t * testDataToReceiveU = malloc(U2_BUFF_SIZE);
	memset(testDataToReceiveU, 0, U2_BUFF_SIZE);
	memset(RcvBuff, 0 ,RCV_BUFF_SIZE);
	uint8_t flag_rcv = 0;
	uint16_t cnt = 0;
	uint32_t tcnt = 0;
	uint16_t rsize;
	uint16_t rsize_old = U2_BUFF_SIZE;
	char Buf[25];
    osSemaphoreRelease (myBinarySem02_USART2THandle);
    HAL_UART_Receive_DMA(&huart2,testDataToReceiveU, U2_BUFF_SIZE); //start receive
   for(;;)  {

		if(osSemaphoreWait(myBinarySem03_USART2RHandle , 1) == osOK) {
				cnt_rcv++;
			flag_rcv ++;
			}
	  rsize = (uint16_t) __HAL_DMA_GET_COUNTER(huart2.hdmarx);
   if(rsize < rsize_old) {
	   tmp = rsize_old - rsize;
   } else if(rsize > rsize_old) {
	   tmp = rsize_old + (uint16_t)U2_BUFF_SIZE - rsize;
   } else if(flag_rcv) {
	   tmp = rsize;
	   flag_rcv = 0;
   }
   rsize_old =  rsize;
	  if(tmp > 0) {
			HAL_GPIO_TogglePin( GPIOB, GPIO_PIN_14); //red
		  //if(tmp < 0) tmp += 128;
		  for(i = 0; i < tmp; i++) {
				Receive(testDataToReceiveU[cnt_bf]);
				testDataToReceiveU[cnt_bf] = 0;  //clear data
//			  testrdata[cnt_rd++] = testDataToReceiveU[cnt_bf++];
				cnt_bf++;
			  if(cnt_rd >= RD_SIZE) 		cnt_rd = 0;
			if(cnt_bf >= U2_BUFF_SIZE) 	cnt_bf = 0;
		  }
		  tmp = 0;
		  cnt_cp++;
	  } //tcnt
	  */

	  /*
		if(osSemaphoreWait(myBinarySem02_USART2THandle , 1) == osOK) {
		 cnt_tr++;
		 HAL_UART_Transmit_DMA(&huart2,testDataToSendU, TR_SIZE);
		 HAL_GPIO_TogglePin( GPIOB, GPIO_PIN_0);  //green
		 HAL_Delay(50);
		}
		*/
	  memset(RcvBuff, 0 ,RCV_BUFF_SIZE);
	//  ReadStorage();  //for have property ip
	//  My_ChangeIp();  //need add to remote
	  uint8_t * testDataToReceiveU = malloc(U2_BUFF_SIZE);
	  memset(testDataToReceiveU, 0, U2_BUFF_SIZE);
	  uint16_t cnt = 0;
	  uint32_t tcnt = 0;
	  uint16_t rsize;
	  uint16_t rsize_old = U2_BUFF_SIZE;
	  uint16_t tmp, i;
	  uint16_t cnt_rd = 0;
	  uint16_t cnt_bf = 0;
	 // uint32_t cnt_rcv = 0;
	 // uint32_t cnt_tr = 0;
	  uint32_t cnt_cp = 0;
	  uint32_t dtemp = 0;
	  int32_t temp = 0;
	//  flag_rcv = 0;
	  uint32_t tmp1;
	  char* Buf = malloc(25);
	  osSemaphoreRelease (myBinarySem02_USART2THandle);
	  HAL_UART_Receive_DMA(&huart2,testDataToReceiveU, U2_BUFF_SIZE); //start receive
	 //  IAP_tftpd_init(); //t
//	  char* testBuff = malloc(50); //temporary
	  /* Infinite loop */
	  for(;;)
	  {
		//	if(osSemaphoreWait(myBinarySem03_USART2RHandle , 1) == osOK) {
				//	cnt_rcv++;
			//		flag_rcv ++;
			//		}
			 rsize = (uint16_t) __HAL_DMA_GET_COUNTER(huart2.hdmarx);
			 if(rsize < rsize_old) {
				   tmp = rsize_old - rsize;
			   } else if(rsize > rsize_old) {
				   tmp = rsize_old + (uint16_t)U2_BUFF_SIZE - rsize;
		//	   } else if(flag_rcv) {
			   }
			  // else if(flag_rcv > 1) {
				//   tmp = rsize;
			//	   tmp = 0;
			//	   flag_rcv = 0;
			 //  }
			   rsize_old =  rsize;
				  if(tmp > 0) {
						HAL_GPIO_TogglePin( GPIOB, GPIO_PIN_14); //red
					  for(i = 0; i < tmp; i++) {
							Receive(testDataToReceiveU[cnt_bf]);
							testDataToReceiveU[cnt_bf] = 0;  //clear data
						//	testrdata[cnt_rd++] = testDataToReceiveU[cnt_bf++];
							cnt_bf++;
						if(cnt_rd >= RD_SIZE) 		cnt_rd = 0;  //do not need
						if(cnt_bf >= U2_BUFF_SIZE) 	cnt_bf = 0;
					  }
					  tmp = 0;
					  cnt_cp++;
				  } //tcnt
	  counter++;
	  if(!(counter % 500)) {
	//   if(counter > TIME_WAIT_JUMP) {
	//	  HAL_UART_DMAStop(&huart2);
	//	  StartApp();
	 //  }
		 // MyReadPhy(PHY_SR, tmp1);  //0x41
	//	  MyReadPhy(0, tmp1);  //0x3000 0x1100
	//	  MyReadPhy(1, tmp1);  //0x7809 0x782d view link! 0x4 bit
		 // printfpd("\n\r> %d", counter / 500);
		//  HAL_Delay(100);
		  //HAL_StatusTypeDef HAL_ADC_Start_DMA(ADC_HandleTypeDef* hadc, uint32_t* pData, uint32_t Length)
//t3		  ParseBufferE("#ffBP;BR.", testBuff,  ';');  //for test
		  temp = CalcTemp(dtemp);
	//t	  printfpd("\n\r> %d", temp);
		  HAL_ADC_Stop_DMA(&hadc1);
		  HAL_ADC_Start_DMA(&hadc1, &dtemp, sizeof(dtemp));
		  HAL_GPIO_TogglePin( GPIOG, GPIO_PIN_0); //to use interrupt
		  CheckWriteStorage();
		  MyCheckLink();
	  }
	//	  CheckWriteStorage();
	//	  MyCheckLink();
		  osDelay(1);
  } //for
  /* USER CODE END StartTask03 */
}

/* StartTask04 function */
void StartTask04(void const * argument)
{
  /* USER CODE BEGIN StartTask04 */
	 RTC_TimeTypeDef RTime;
	 unsigned long cnt = 0;
	 char Buff[20];
  /* Infinite loop */
  for(;;)
  {
   cnt++;
   if(cnt > 1000) {
   HAL_RTC_GetTime(&hrtc, &RTime, RTC_FORMAT_BIN); // RTC_FORMAT_BCD);
   sprintf(Buff, "\n\r%02d:%02d:%02d ", RTime.Hours, RTime.Minutes, RTime.Seconds);
//t   printfp(Buff);
   cnt = 0;
   }
    osDelay(1);
  }
  /* USER CODE END StartTask04 */
}

/* StartTask05 function */
void StartTask05(void const * argument)
{
  /* USER CODE BEGIN StartTask05 */
  vMBServerTask();
  /* Infinite loop */
  for(;;)
  {
    osDelay(1);
  }
  /* USER CODE END StartTask05 */
}

/* USER CODE BEGIN Application */
/*
static void udp_thread1(void *arg)
{
	err_t err, recv_err;
	  struct netconn *conn;
	  struct netbuf *buf;
	  ip_addr_t *addr;
	  unsigned short port;
	  unsigned short my_port = MY_UDP_PORT;
	  void* data;  //my
	  u16_t len;//my
	  conn = netconn_new(NETCONN_UDP);
	  if (conn!= NULL) {
	    err = netconn_bind(conn, IP_ADDR_ANY, my_port);
      if (err == ERR_OK) {
    	  for(;;)  {
    		  recv_err = netconn_recv(conn, &buf);
    	//	  buf = netconn_recv(conn);
    		  if (recv_err == ERR_OK)  {
    	//	  if (buf != NULL)  {
    			  addr = netbuf_fromaddr(buf);
    			  port = netbuf_fromport(buf);
    			  netconn_connect(conn, addr, port);
    	//		  buf->addr = 0;//NULL;
    			  buf->addr.addr = 0;
    	//		  netbuf_data(buf, &data, &len);  //my
    	//		  netconn_write(conn, data, len, NETCONN_COPY);
    			  netconn_send(conn,buf);
    			  netbuf_delete(buf);
    			//  netconn_close(conn);
    		//	  netconn_delete(conn);
    		//	  conn = netconn_new(NETCONN_UDP);
    		//	  err = netconn_bind(conn, IP_ADDR_ANY, my_port);
    //			  osDelay(1);
    		  }
    		  osDelay(1);
    	   }
        }
	    else  {
	    		netconn_delete(conn);
	    	  }
	  }//conn
}
*/
static void udp_thread(void *arg)
{
//  struct_out *qstruct;
 // struct_sock *arg_sock;
  int sock, ret;
  struct sockaddr_in address, remotehost;
  socklen_t sockaddrsize;
//  arg_sock = (struct_sock*) arg;
  int buflen = 150;
  unsigned char recv_buffer[150];
  sockaddrsize = sizeof(remotehost);
  if ((sock = socket(AF_INET,SOCK_DGRAM, IPPROTO_UDP)) >= 0)
  {
    address.sin_family = AF_INET;
    address.sin_port = htons(MY_UDP_PORT);
    address.sin_addr.s_addr = INADDR_ANY;
    if (bind(sock, (struct sockaddr *)&address, sizeof (address)) ==  0)
    {
      for(;;)
      {
        ret = recvfrom( sock,recv_buffer, buflen, 0, (struct sockaddr *)&remotehost, &sockaddrsize);
        if(ret > 0)
        {
      //    qstruct = osMailAlloc(strout_Queue, osWaitForever);
      //    qstruct->x_pos = 0;
      //    qstruct->y_pos = arg_sock->y_pos;
      //    qstruct->sfont = Font24;
          recv_buffer[ret-1] = 0;
        //  sprintf(qstruct->str,"%5u %-20s", ntohs(remotehost.sin_port), (char*)recv_buffer);
        //  osMailPut(strout_Queue, qstruct);
        //  osDelay(2);
        //  sprintf(qstruct->str, "%7u",xPortGetMinimumEverFreeHeapSize());
        //  qstruct->y_pos = arg_sock->y_pos + 40;
        //  osMailPut(strout_Queue, qstruct);
        //  osMailFree(strout_Queue, qstruct);
          strcat((char*)recv_buffer,"\n");
          sendto(sock,recv_buffer,strlen((char*)recv_buffer),0,(struct sockaddr *)&remotehost, sockaddrsize);
        }
      }
    }
    else
    {
      close(sock);
      return;
    }
  }
}

void HAL_SPI_TxRxHalfCpltCallback(SPI_HandleTypeDef *hspi)
{
  /* Prevent unused argument(s) compilation warning */
  UNUSED(hspi);
//  osSemaphoreRelease (myBinarySem01_SPI1THandle);
  /* NOTE : This function should not be modified, when the callback is needed,
            the HAL_SPI_TxRxHalfCpltCallback() should be implemented in the user file
  */
}

void HAL_SPI_TxCpltCallback(SPI_HandleTypeDef *hspi)
{
  /* Prevent unused argument(s) compilation warning */

  UNUSED(hspi);
//  hspi->State = HAL_SPI_STATE_READY;
// osSemaphoreRelease (myBinarySem01_SPI1THandle);
  /* NOTE : This function should not be modified, when the callback is needed,
            the HAL_SPI_TxCpltCallback should be implemented in the user file
  */
}

void HAL_SPI_RxCpltCallback(SPI_HandleTypeDef *hspi)
{
  /* Prevent unused argument(s) compilation warning */
  UNUSED(hspi);
  /* NOTE : This function should not be modified, when the callback is needed,
            the HAL_SPI_RxCpltCallback should be implemented in the user file
  */
}
/*
void
//vMBServerTask( void *arg )
vMBServerTask( void )
{
    eMBErrorCode    xStatus;

    for( ;; )
    {

        if( eMBTCPInit( MB_TCP_PORT_USE_DEFAULT ) != MB_ENOERR )
        {
            printfp(" can't initialize modbus stack!\r\n");
        }
        else if( eMBEnable(  ) != MB_ENOERR )
        {
            printfp( "can't enable modbus stack!\r\n");
        }
        else
        {
        	 printfp(" is enabled modbus stack!\r\n");
            do
            {
                xStatus = eMBPoll(  );
         // 	    osDelay(1); //t
            }
            while( xStatus == MB_ENOERR );
        }
        // An error occured. Maybe we can restart.
        ( void )eMBDisable(  );
        ( void )eMBClose(  );

    }
}
*/

void
vMBServerTask( void )
{
    eMBErrorCode    xStatus;
  //  return;
   char flag = 1;

    if( eMBTCPInit( MB_TCP_PORT_USE_DEFAULT ) != MB_ENOERR )
        {
            printfp(" can't initialize modbus stack!\r\n");
        }
        else if( eMBEnable(  ) != MB_ENOERR )
        {
            printfp( "can't enable modbus stack!\r\n");
            flag = 0;
            ( void )eMBDisable(  );
            ( void )eMBClose(  );
        }
        else {
            printfp( " modbus init ok!\r\n");
        //	return;
        }
     for( ;; )
    {
              if(flag) { xStatus = eMBPoll();}
               osDelay(1);
    }
 }

eMBErrorCode
eMBRegCoilsCB( UCHAR * pucRegBuffer, USHORT usAddress, USHORT usNCoils, eMBRegisterMode eMode )
{
    return MB_ENOREG;
}

eMBErrorCode
eMBRegDiscreteCB( UCHAR * pucRegBuffer, USHORT usAddress, USHORT usNDiscrete )
{
    return MB_ENOREG;  //need realize and change to MB_ENOERR;
}

eMBErrorCode
eMBRegHoldingCB( UCHAR * pucRegBuffer, USHORT usAddress, USHORT usNRegs, eMBRegisterMode eMode )
{
    eMBErrorCode    eStatus = MB_ENOERR;
    int             iRegIndex;

    if( ( usAddress >= REG_HOLDING_START ) &&
        ( usAddress + usNRegs <= REG_HOLDING_START + REG_HOLDING_NREGS ) )
    {
        iRegIndex = ( int )( usAddress - usRegHoldingStart );
        switch ( eMode )
        {
            /* Pass current register values to the protocol stack. */
        case MB_REG_READ:
            while( usNRegs > 0 )
            {
                *pucRegBuffer++ = ( UCHAR ) ( usRegHoldingBuf[iRegIndex] >> 8 );
                *pucRegBuffer++ = ( UCHAR ) ( usRegHoldingBuf[iRegIndex] & 0xFF );
                iRegIndex++;
                usNRegs--;
            }
            break;

            /* Update current register values with new values from the
             * protocol stack. */
        case MB_REG_WRITE:
            while( usNRegs > 0 )
            {
                usRegHoldingBuf[iRegIndex] = *pucRegBuffer++ << 8;
                usRegHoldingBuf[iRegIndex] |= *pucRegBuffer++;
                iRegIndex++;
                usNRegs--;
            }
        }
    }
    else
    {
        eStatus = MB_ENOREG;
    }
    return eStatus;
}

eMBErrorCode
eMBRegInputCB( UCHAR * pucRegBuffer, USHORT usAddress, USHORT usNRegs )
{
    eMBErrorCode    eStatus = MB_ENOERR;
    int             iRegIndex;

    if( ( usAddress >= REG_INPUT_START )
        && ( usAddress + usNRegs <= REG_INPUT_START + REG_INPUT_NREGS ) )
    {
        iRegIndex = ( int )( usAddress - usRegInputStart );
        while( usNRegs > 0 )
        {
            *pucRegBuffer++ = ( unsigned char )( usRegInputBuf[iRegIndex] >> 8 );
            *pucRegBuffer++ = ( unsigned char )( usRegInputBuf[iRegIndex] & 0xFF );
            iRegIndex++;
            usNRegs--;
        }
    }
    else
    {
        eStatus = MB_ENOREG;
    }
    return eStatus;
}

/* USER CODE END Application */

/************************ (C) COPYRIGHT STMicroelectronics *****END OF FILE****/
